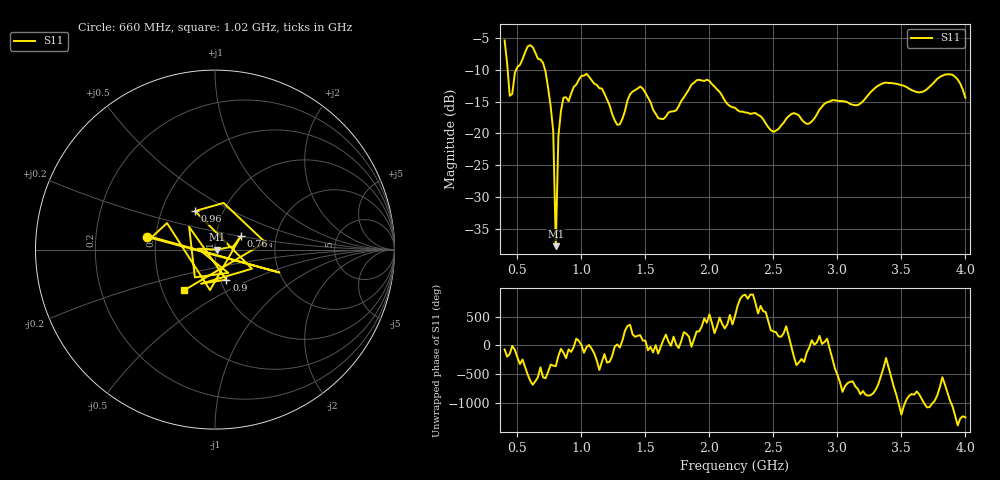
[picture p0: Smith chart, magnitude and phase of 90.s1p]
!Created with skrf (http://scikit-rf.org).
# Hz S RI R 50.0
!freq ReS11 ImS11
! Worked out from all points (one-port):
!   181 points, 400 MHz to 4 GHz, reference 50 ohm
!   lowest |S11| = -37.7 dB at 800 MHz (marker M1), VSWR 1.03, Z = 51.3 + j0.00918 ohm
!   |S11| at or under -10 dB: 423.8 MHz to 490.6 MHz (66.83 MHz wide, 14.6 % of centre); 715.7 MHz to end of sweep
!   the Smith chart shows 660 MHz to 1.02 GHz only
!   S11 on the Smith chart (normalised r, x): 660 MHz: 0.45, +0.07; 760 MHz: 1.32, +0.20; 900 MHz: 1.07, -0.37; 960 MHz: 0.73, +0.34; 1.02 GHz: 0.65, -0.32
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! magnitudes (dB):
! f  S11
! 400 MHz  -5.4
! 440 MHz  -14.1
! 580 MHz  -6.3
! 660 MHz  -8.3
! 720 MHz  -10.3
! 760 MHz  -15.8
! 780 MHz  -19.7
! 800 MHz  -37.7
! 820 MHz  -20.5
! 860 MHz  -14.4
! 900 MHz  -14.9
! 960 MHz  -12.3
! 1.02 GHz  -10.9
! 1.3 GHz  -18.6
! 1.46 GHz  -12.6
! 1.6 GHz  -17.6
! 1.76 GHz  -15.7
! 1.98 GHz  -11.6
! 2.2 GHz  -16.0
! 2.5 GHz  -19.8
! 2.66 GHz  -16.8
! 2.78 GHz  -18.5
! 2.92 GHz  -15.1
! 3.1 GHz  -15.4
! 3.36 GHz  -12.1
! 3.56 GHz  -13.0
! 3.88 GHz  -10.7
! 4 GHz  -14.4
